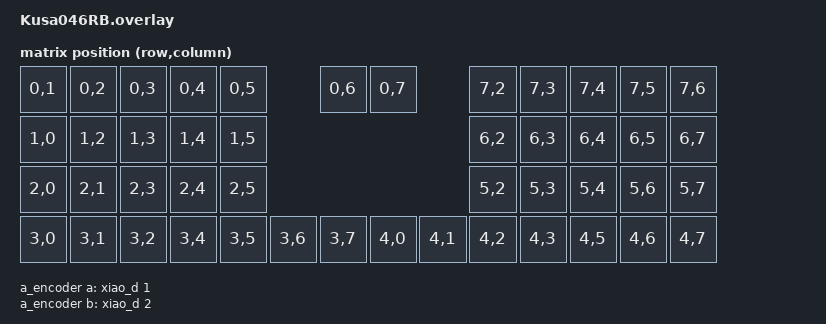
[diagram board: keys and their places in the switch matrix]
#include <dt-bindings/zmk/matrix_transform.h>



/ {
    chosen {
        zmk,kscan = &kscan0;
        zmk,matrix-transform = &default_transform;
    };

    kscan0: kscan {
        compatible = "zmk,kscan-gpio-charlieplex";
        wakeup-source;

        interrupt-gpios = <&gpio0 16 (GPIO_ACTIVE_HIGH | GPIO_PULL_DOWN) >;
        gpios
          = <&gpio0 10 GPIO_ACTIVE_HIGH>
          , <&gpio1 10 GPIO_ACTIVE_HIGH>
          , <&gpio1 0 GPIO_ACTIVE_HIGH>
          , <&xiao_d 3 GPIO_ACTIVE_HIGH>
          , <&xiao_d 4 GPIO_ACTIVE_HIGH>
          , <&xiao_d 5 GPIO_ACTIVE_HIGH>
          , <&xiao_d 6 GPIO_ACTIVE_HIGH>
          , <&gpio0 9 GPIO_ACTIVE_HIGH>
          ;
    };

    default_transform: matrix_transform {
        compatible = "zmk,matrix-transform";
        rows = <8>;
        columns = <7>;
        // | SW1   | SW2   | SW3   | SW4   | SW5   |       | SW6   | SW7   |       | SW73  | SW74  | SW75  | SW76  | SW77  |
		// | SW11  | SW12  | SW13  | SW14  | SW15  |       |       |       |       | SW63  | SW64  | SW65  | SW66  | SW67  |
		// | SW21  | SW22  | SW23  | SW24  | SW25  |       |       |       |       | SW53  | SW54  | SW55  | SW56  | SW57  |
		// | SW31  | SW32  | SW33  | SW34  | SW35  | SW36  | SW37  | SW41  | SW42  | SW43  | SW44  | SW45  | SW46  | SW47  |  
        map = <
            RC(0,1) RC(0,2) RC(0,3) RC(0,4) RC(0,5)         RC(0,6) RC(0,7)         RC(7,2) RC(7,3) RC(7,4) RC(7,5) RC(7,6)
            RC(1,0) RC(1,2) RC(1,3) RC(1,4) RC(1,5)                                 RC(6,2) RC(6,3) RC(6,4) RC(6,5) RC(6,7)
            RC(2,0) RC(2,1) RC(2,3) RC(2,4) RC(2,5)                                 RC(5,2) RC(5,3) RC(5,4) RC(5,6) RC(5,7)
            RC(3,0) RC(3,1) RC(3,2) RC(3,4) RC(3,5) RC(3,6) RC(3,7) RC(4,0) RC(4,1) RC(4,2) RC(4,3) RC(4,5) RC(4,6) RC(4,7)
        >;
    };

    a_encoder: encoder_a {
        compatible = "alps,ec11";
        a-gpios = <&xiao_d 1 (GPIO_ACTIVE_HIGH | GPIO_PULL_UP)>;
        b-gpios = <&xiao_d 2 (GPIO_ACTIVE_HIGH | GPIO_PULL_UP)>;
        steps = <24>;
        status = "okay";
    };
    sensors: sensors {
        compatible = "zmk,keymap-sensors";
        sensors = <&a_encoder>;
        triggers-per-rotation = <24>;
    };
};

// badjeff's PMW3610 driver

&pinctrl {
    spi0_default: spi0_default {
        group1 {
            psels = <NRF_PSEL(SPIM_SCK, 1, 13)>,
                <NRF_PSEL(SPIM_MOSI, 1, 14)>,
                <NRF_PSEL(SPIM_MISO, 1, 14)>;
        };
    };

    spi0_sleep: spi0_sleep {
        group1 {
            psels = <NRF_PSEL(SPIM_SCK, 1, 13)>,
                <NRF_PSEL(SPIM_MOSI, 1, 14)>,
                <NRF_PSEL(SPIM_MISO, 1, 14)>;
            low-power-enable;
        };
    };
};

#include <zephyr/dt-bindings/input/input-event-codes.h>

&spi0 {
    status = "okay";
    compatible = "nordic,nrf-spim";
    pinctrl-0 = <&spi0_default>;
    pinctrl-1 = <&spi0_sleep>;
    pinctrl-names = "default", "sleep";

    trackball: trackball@0 {
        status = "okay";
        compatible = "pixart,pmw3610-alt";
        reg = <0>;
        spi-max-frequency = <2000000>;
        irq-gpios = <&gpio1 12 (GPIO_ACTIVE_LOW | GPIO_PULL_UP)>;
        cpi = <600>;
        // swap-xy; /* optional */
        // invert-x; /* optional */
        // invert-y; /* optional */
        evt-type = <INPUT_EV_REL>;
        x-input-code = <INPUT_REL_X>;
        y-input-code = <INPUT_REL_Y>;

        // force-awake; /* optional */
        /* keep the sensor awake while ZMK activity state is ACTIVE,
           fallback to normal downshift mode after ZMK goes into IDLE / SLEEP mode.
           thus, the sensor would be a `wakeup-source` */

        // force-awake-4ms-mode; /* optional */
        /* while force-awake is acitvated, enable this mode to force sampling per 
           4ms, where the default sampling rate is 8ms. */
        /* NOTE: apply this mode if you need 250Hz with direct USB connection. */
    };
};

/ {
// カーソル移動用リスナー
  trackball_listener {
    compatible = "zmk,input-listener";
    device = <&trackball>;
  };
};

// バッテリー関連
/* ==========================================================================
   1. ADC（アナログ・デジタル変換器）の設定
   XIAO BLEのA0ピンに対応する内部チャンネル0（AIN0）を初期化します。
   ========================================================================== */
&adc {
    status = "okay";
    #address-cells = <1>;
    #size-cells = <0>;

    channel@0 {
        reg = <0>;
        zephyr,gain = "ADC_GAIN_1_6";          /* 1/6ゲイン（nRF52の標準設定） */
        zephyr,reference = "ADC_REF_INTERNAL";  /* 内部基準電圧（0.6V）を使用 */
        zephyr,acquisition-time = <ADC_ACQ_TIME_DEFAULT>;
        zephyr,input-positive = <NRF_SAADC_AIN0>; /* A0ピン (P0.02) を指定 */
    };
};

/* ==========================================================================
   2. バッテリー監視ノード（vbatt）の上書き設定
   XIAO BLEに最初から定義されている「vbatt」をNiMH仕様に上書きします。
   ========================================================================== */
&vbatt {
    status = "okay";
    compatible = "zmk,battery-voltage-divider";
    
    /* 入力ソースを A0ピン（ADCのチャンネル0）に切り替え */
    io-channels = <&adc 0>; 

    /* 🔥最重要：XIAO BLE標準の内蔵リポ用充放電制御ピン（P0.14）の設定を完全に消去。
       これを行うことで、前回のビルドエラーの原因となっていた空のプロパティ問題を解決します。 */
    /delete-property/ power-gpios;

    /* 💡 NiMH (1.4V〜1.1V) を LiPo (4.2V〜3.3V) に見せかけるため、倍率を3倍に設定
       実際の抵抗値：output-ohms = 470kΩ, full-ohms = 1MΩ + 470kΩ = 1470kΩ
       設定する値：output-ohms = 470000, full-ohms = 1470000 * 3 = 4410000 */
    output-ohms = <470000>;
    full-ohms = <4410000>; 
};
